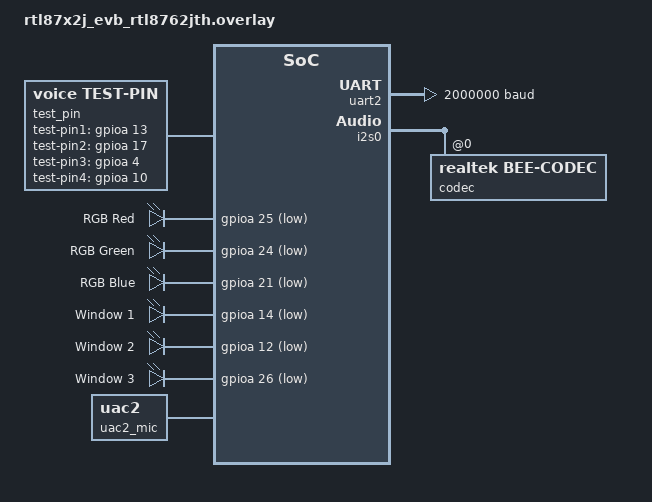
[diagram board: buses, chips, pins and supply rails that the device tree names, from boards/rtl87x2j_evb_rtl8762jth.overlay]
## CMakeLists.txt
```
# Copyright (c) 2025 Realtek Semiconductor Corp.
# SPDX-License-Identifier: Apache-2.0

cmake_minimum_required(VERSION 3.20.0)
find_package(Zephyr REQUIRED HINTS $ENV{ZEPHYR_BASE})
project(claude_micro)

set(BUTTON_SOURCES
    src/button/button.c
    src/button/button_handle.c
)

set(LED_SOURCES
    src/led/led_driver.c
)

set(VOICE_SOURCES
    src/voice/voice_driver.c
    src/voice/voice_handle.c
)

set(USB_SOURCES
    src/usb/usb_audio.c
    src/usb/usb_hid.c
    src/usb/usbd_init.c
)

target_sources(app PRIVATE
    src/main.c
    ${BUTTON_SOURCES}
    ${LED_SOURCES}
)

target_sources_ifdef(CONFIG_AUDIO app PRIVATE ${VOICE_SOURCES})

target_sources_ifdef(CONFIG_USB_DEVICE_STACK_NEXT app PRIVATE ${USB_SOURCES})

target_include_directories(app PRIVATE inc)
```

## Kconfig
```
# Copyright (c) 2025 Realtek Semiconductor Corp.
# SPDX-License-Identifier: Apache-2.0

mainmenu "claude_micro USB Audio Dongle"

choice APP_UAC_SAMPLE_RATE
	prompt "UAC microphone sample rate"
	default APP_UAC_SAMPLE_RATE_16K

config APP_UAC_SAMPLE_RATE_16K
	bool "16 kHz"

config APP_UAC_SAMPLE_RATE_48K
	bool "48 kHz"

endchoice

config APP_UAC_SAMPLE_RATE
	int
	default 16000 if APP_UAC_SAMPLE_RATE_16K
	default 48000 if APP_UAC_SAMPLE_RATE_48K

config APP_LOG_LEVEL
	int "Application log level"
	default 3
	range 0 4

source "Kconfig.zephyr"
```

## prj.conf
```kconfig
# Copyright (c) 2025 Realtek Semiconductor Corp.
# SPDX-License-Identifier: Apache-2.0

# ── Sample rate (choose one) ──────────────────────────────────────────────────
# NOTE: 48K also needs sampling-frequencies = <48000> in the board overlay
#       and CONFIG_I2S_BEE_RX_BLOCK_SIZE_MAX=1024.
CONFIG_APP_UAC_SAMPLE_RATE_16K=y
# CONFIG_APP_UAC_SAMPLE_RATE_48K=y

# ── Logging ───────────────────────────────────────────────────────────────────
CONFIG_LOG=y
CONFIG_APP_LOG_LEVEL=3

# ── GPIO / Button / RGB LED ───────────────────────────────────────────────────
CONFIG_GPIO=y

# ── I2S / Audio codec ─────────────────────────────────────────────────────────
CONFIG_I2S=y
CONFIG_I2S_BEE_RX=y
CONFIG_AUDIO=y
CONFIG_AUDIO_CODEC=y

# ── DMA (required by Bee I2S driver) ─────────────────────────────────────────
CONFIG_DMA=y

# ── USB Device stack (device_next) ────────────────────────────────────────────
CONFIG_USB_DEVICE_STACK_NEXT=y
CONFIG_RING_BUFFER=y
# Run the DWC2 controller in full speed only
CONFIG_UDC_DRIVER_HIGH_SPEED_SUPPORT_ENABLED=n

# UAC2 microphone
CONFIG_USBD_AUDIO2_CLASS=y

# HID (button reports + LED state output)
CONFIG_USBD_HID_SUPPORT=y

CONFIG_USBD_LOG_LEVEL_WRN=y
CONFIG_UDC_DRIVER_LOG_LEVEL_WRN=y
CONFIG_USBD_HID_LOG_LEVEL_WRN=y
CONFIG_USBD_UAC2_LOG_LEVEL_WRN=y

# ── Kernel / heap ─────────────────────────────────────────────────────────────
CONFIG_HEAP_MEM_POOL_SIZE=8192
CONFIG_MAIN_STACK_SIZE=2048
CONFIG_SYSTEM_WORKQUEUE_STACK_SIZE=2048

# ── Console (UART2 @ 2M, see overlay) ─────────────────────────────────────────
CONFIG_UART_CONSOLE=y
```

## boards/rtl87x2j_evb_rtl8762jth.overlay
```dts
/*
 * Copyright (c) 2025 Realtek Semiconductor Corp.
 * SPDX-License-Identifier: Apache-2.0
 *
 * claude_micro overlay for rtl87x2j_evb/rtl8762jth
 *
 * Pin usage (EVB):
 *   P0_0/P0_1/P1_0/P1_1   SWD (reserved)
 *   P0_3                  Realtek internal log (reserved)
 *   P1_1                  led0 (board)
 *   P3_0 / P3_3           UART2 TX / RX console @ 2 Mbps
 *                         (RX moved from P3_1, which drives the blue LED)
 *   P3_1 / P3_4 / P3_5    RGB LED  B / G / R  (mic key status)
 *   P2_2 / P2_0 / P3_6    window 1 / 2 / 3 status LEDs
 *   P2_1 / P2_5           KEY4 / KEY5 -> test-pin1 / test-pin2
 *   P0_4 / P1_6           test-pin3 / test-pin4
 *   P2_6 / P2_7 / MICBIAS internal codec AMIC
 */

#include <zephyr/dt-bindings/gpio/realtek-bee-gpio.h>
#include <zephyr/dt-bindings/usb/audio.h>

/ {
	test_pin: test_pin {
		compatible = "voice,test-pin";
		/* btn1: mic toggle (KEY4, P2_1) */
		test-pin1 = <&gpioa 13 (GPIO_ACTIVE_HIGH | BEE_GPIO_INPUT_DEBOUNCE_MS(8))>;
		/* btn2: win1 (KEY5, P2_5) */
		test-pin2 = <&gpioa 17 (GPIO_ACTIVE_HIGH | BEE_GPIO_INPUT_DEBOUNCE_MS(8))>;
		/* btn3: win2 (P0_4) */
		test-pin3 = <&gpioa 4 (GPIO_ACTIVE_HIGH | BEE_GPIO_INPUT_DEBOUNCE_MS(8))>;
		/* btn4: win3 (P1_6) */
		test-pin4 = <&gpioa 10 (GPIO_ACTIVE_HIGH | BEE_GPIO_INPUT_DEBOUNCE_MS(8))>;
	};

	rgb_leds {
		compatible = "gpio-leds";

		rgb_r: rgb_r {
			gpios = <&gpioa 25 GPIO_ACTIVE_LOW>; /* P3_5 */
			label = "RGB Red";
		};

		rgb_g: rgb_g {
			gpios = <&gpioa 24 GPIO_ACTIVE_LOW>; /* P3_4 */
			label = "RGB Green";
		};

		rgb_b: rgb_b {
			gpios = <&gpioa 21 GPIO_ACTIVE_LOW>; /* P3_1 */
			label = "RGB Blue";
		};
	};

	/* Single-colour window status LEDs (win1..3 YES keys) */
	win_leds {
		compatible = "gpio-leds";

		win1_led: win1_led {
			gpios = <&gpioa 14 GPIO_ACTIVE_LOW>; /* P2_2 */
			label = "Window 1";
		};

		win2_led: win2_led {
			gpios = <&gpioa 12 GPIO_ACTIVE_LOW>; /* P2_0 */
			label = "Window 2";
		};

		win3_led: win3_led {
			gpios = <&gpioa 26 GPIO_ACTIVE_LOW>; /* P3_6 */
			label = "Window 3";
		};
	};

	uac2_mic: usb_audio2 {
		compatible = "zephyr,uac2";
		status = "okay";
		full-speed;
		audio-function = <AUDIO_FUNCTION_MICROPHONE>;

		uac_aclk: aclk {
			compatible = "zephyr,uac2-clock-source";
			clock-type = "internal-fixed";
			frequency-control = "read-only";
			/* Must match CONFIG_APP_UAC_SAMPLE_RATE */
			sampling-frequencies = <16000>;
		};

		mic_input: microphone {
			compatible = "zephyr,uac2-input-terminal";
			clock-source = <&uac_aclk>;
			terminal-type = <INPUT_TERMINAL_MICROPHONE>;
			front-left;
		};

		in_terminal: in_terminal {
			compatible = "zephyr,uac2-output-terminal";
			data-source = <&mic_input>;
			clock-source = <&uac_aclk>;
			terminal-type = <USB_TERMINAL_STREAMING>;
		};

		as_iso_in: in_interface {
			compatible = "zephyr,uac2-audio-streaming";
			linked-terminal = <&in_terminal>;
			subslot-size = <2>;
			bit-resolution = <16>;
		};
	};

	hid_dev_0: hid_dev_0 {
		compatible = "zephyr,hid-device";
		label = "HID0";
		protocol-code = "none";
		in-report-size = <2>;
		in-polling-period-us = <10000>;
		out-report-size = <4>;
		out-polling-period-us = <10000>;
	};
};

&gpioa_default {
	group1 {
		psels = <BEE_PSEL_GPIOA_4_P0_4>,
			<BEE_PSEL_GPIOA_9_P1_1>,
			<BEE_PSEL_GPIOA_10_P1_6>,
			<BEE_PSEL_GPIOA_12_P2_0>,
			<BEE_PSEL_GPIOA_13_P2_1>,
			<BEE_PSEL_GPIOA_14_P2_2>,
			<BEE_PSEL_GPIOA_17_P2_5>,
			<BEE_PSEL_GPIOA_21_P3_1>,
			<BEE_PSEL_GPIOA_24_P3_4>,
			<BEE_PSEL_GPIOA_25_P3_5>,
			<BEE_PSEL_GPIOA_26_P3_6>;
	};
};

/* UART2 RX: P3_1 -> P3_3 (P3_1 is the blue LED) */
&uart2_default {
	group2 {
		psels = <BEE_PSEL(UART2_RX, P3_3)>;
	};
};

&uart2_sleep {
	group2 {
		psels = <BEE_PSEL(IDLE_MODE, P3_3)>;
	};
};

&uart2 {
	current-speed = <2000000>;
};

&dma0 {
	status = "okay";
};

/* Internal codec path, no external I2S pins */
&i2s0 {
	dmas = <&dma0 0 16 0x26a1>, <&dma0 1 17 0x648a>;
	dma-names = "tx", "rx";
	status = "okay";

	codec: codec@0 {
		compatible = "realtek,bee-codec";
		reg = <0>;
		clocks = <&cctl APB_CLK(CODEC)>;
		channel-sequence = "l_r";
		mic-bias = "1_8";
		mic-bst-gain = "30dB";
		mic-bst-mode = "differential";
		mic-type = "amic";
		dmic-data-latch = "rising_latch";
		ad-gain = <0x2f>;
		boost-gain = "0dB";
		pinctrl-0 = <&codec_default>;
		pinctrl-names = "default";
		status = "okay";
	};
};

&pinctrl {
	codec_default: codec_default {
		group1 {
			psels = <BEE_PSEL(PWR_OFF, P2_6)>,
				<BEE_PSEL(PWR_OFF, P2_7)>;
			output-disable;
			bias-disable;
		};

		group2 {
			psels = <BEE_PSEL(SW_MODE, MICBIAS)>;
			output-enable;
			output-high;
			bias-disable;
		};
	};
};
```

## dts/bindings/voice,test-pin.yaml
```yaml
description: Voice test GPIO pin node for claude_micro dongle

compatible: "voice,test-pin"

properties:
  test-pin1:
    type: phandle-array
    specifier-space: gpio
    required: true
  test-pin2:
    type: phandle-array
    specifier-space: gpio
    required: false
  test-pin3:
    type: phandle-array
    specifier-space: gpio
    required: false
  test-pin4:
    type: phandle-array
    specifier-space: gpio
    required: false
```

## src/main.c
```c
/*
 * Copyright (c) 2025 Realtek Semiconductor Corp.
 * SPDX-License-Identifier: Apache-2.0
 *
 * claude_micro — USB audio dongle main entry.
 *
 * Initialisation order:
 *   1. USB (UAC2 mic + HID) — class ops are registered first, then the
 *      device_next stack is initialised and enabled.
 *   2. Button GPIO interrupts.
 *
 * The voice driver (I2S / codec) is started on-demand when the button is
 * pressed; see src/button/button_handle.c.
 */

#include <zephyr/kernel.h>
#include <zephyr/logging/log.h>

#include "led/led_driver.h"

LOG_MODULE_REGISTER(app, CONFIG_APP_LOG_LEVEL);

/* Forward declarations — implemented in their respective modules. */
void app_usb_audio_init(void);
void app_usb_hid_init(void);
int app_usbd_init(void);
void button_init(void);

int main(void)
{
	LOG_INF("claude_micro starting");

	app_usb_audio_init();
	app_usb_hid_init();
	if (app_usbd_init() != 0) {
		LOG_ERR("USB init failed");
	}
	button_init();

	if (led_driver_init() != 0) {
		LOG_ERR("LED init failed");
	}

	LOG_INF("claude_micro init done");
	return 0;
}
```

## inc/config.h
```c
/*
 * Copyright (c) 2025 Realtek Semiconductor Corp.
 * SPDX-License-Identifier: Apache-2.0
 *
 * Application-level configuration for claude_micro.
 * No encoding — raw PCM is sent directly to USB UAC.
 */

#ifndef _CONFIG_H_
#define _CONFIG_H_

/* ── Voice flow ───────────────────────────────────────────────────────────── */
/* Raw PCM path: no BLE, no PPT, no encoding. */
#define VOICE_FLOW_RAW_USB      1

/* ── Codec sample rate ────────────────────────────────────────────────────── */
/* Derived from Kconfig choice; just expose a convenience alias. */
#define CODEC_SAMPLE_RATE       CONFIG_APP_UAC_SAMPLE_RATE

/* ── I2S block size ───────────────────────────────────────────────────────── */
/*
 * 10 ms worth of 16-bit mono PCM at the configured sample rate.
 *   16 kHz → 320 bytes
 *   48 kHz → 960 bytes
 */
#define VOICE_BLOCK_SIZE        ((CONFIG_APP_UAC_SAMPLE_RATE / 1000) * 10 * 2)

/* ── Debug / dump features ────────────────────────────────────────────────── */
/* Set to 1 to dump raw PCM bytes over UART2 (expensive — debug only). */
#define FEATURE_SUPPORT_UART_DUMP_VOICE_RAW_DATA    0

/* Set to 1 to dump every 10th UAC frame over UART2 (debug only). */
#define FEATURE_SUPPORT_UART_DUMP_UAC_SEND_DATA     0

/* ── HID report IDs ───────────────────────────────────────────────────────── */
#define HID_REPORT_ID_BUTTONS   0x01   /* IN:  3-bit window YES buttons        */
#define HID_REPORT_ID_LED       0x02   /* OUT: per-window LED state from host  */

/* HID key code sent when the mic button is held (consumer: "Record"). */
#define HID_KEY_RECORD          0xB3

/* ── LED window state values (used in HID OUT report and led_driver) ─────── */
#define LED_WIN_IDLE            0U   /* off                     */
#define LED_WIN_WORKING         1U   /* slow blink — executing  */
#define LED_WIN_WAITING         2U   /* fast blink — waiting    */
#define LED_WIN_SUCCESS         3U   /* solid on   — done       */

#endif /* _CONFIG_H_ */
```
